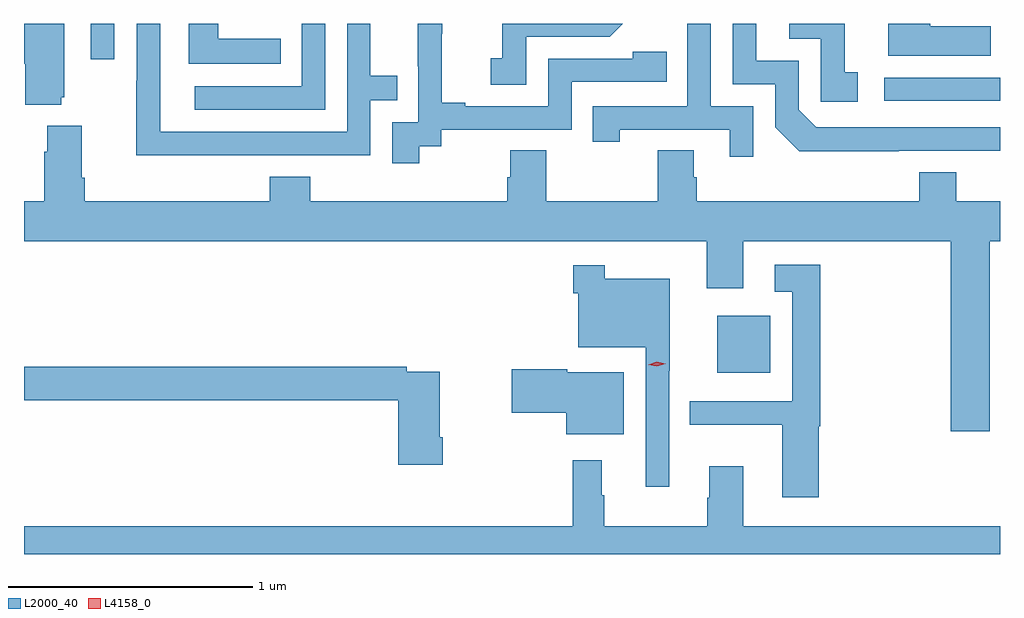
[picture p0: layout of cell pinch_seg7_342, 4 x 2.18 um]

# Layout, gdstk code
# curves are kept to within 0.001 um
import gdstk
lib = gdstk.Library(unit=1e-6, precision=1e-09)
def R(c, l, rs):  # rectangles x0, y0, x1, y1
    for r in rs: c.add(gdstk.rectangle(r[:2], r[2:], *l))
def P(c, l, *ps):  # polygons
    for p in ps: c.add(gdstk.Polygon(p, *l))
L2000_40 = (2000, 40)
L4158_0 = (4158, 0)

pinch_seg7_342 = lib.new_cell('pinch_seg7_342')
R(pinch_seg7_342, L2000_40, [(422.162,998.744,422.38,998.977), (422.847,999.858,423.321,999.954), (419.595,1000.029,419.691,1000.175)])
P(pinch_seg7_342, L2000_40, [(420.245,999.636),(420.741,999.636),(420.741,999.861),(420.851,999.861),(420.851,999.962),(420.741,999.962),(420.741,1000.175),(420.645,1000.175),(420.645,999.732),(419.88,999.732),(419.88,1000.175),(419.784,1000.175),(419.784,999.941),(419.782,999.941),(419.782,999.635),(420.245,999.635)],
  [(420.374,1000.114),(420.117,1000.114),(420.117,1000.175),(419.996,1000.175),(419.996,1000.01),(420.374,1000.01)],
  [(420.94,999.673),(421.032,999.673),(421.032,999.741),(421.566,999.741),(421.566,999.936),(421.955,999.936),(421.955,1000.059),(421.815,1000.059),(421.815,1000.032),(421.47,1000.032),(421.47,999.837),(421.129,999.837),(421.129,999.85),(421.034,999.85),(421.034,1000.133),(421.035,1000.133),(421.035,1000.175),(420.935,1000.175),(420.935,1000.001),(420.936,1000.001),(420.936,999.771),(420.831,999.771),(420.831,999.603),(420.94,999.603)],
  [(423.283,1000.165),(423.035,1000.165),(423.035,1000.175),(422.864,1000.175),(422.864,1000.043),(423.283,1000.043)],
  [(419.474,999.873),(419.485,999.873),(419.485,1000.175),(419.321,1000.175),(419.321,1000.01),(419.327,1000.01),(419.327,999.842),(419.474,999.842)],
  [(422.906,999.654),(423.321,999.654),(423.321,999.75),(422.568,999.75),(422.496,999.822),(422.496,1000.023),(422.323,1000.023),(422.323,1000.175),(422.226,1000.175),(422.226,999.927),(422.4,999.927),(422.4,999.75),(422.498,999.653)],
  [(421.38,1000.122),(421.722,1000.122),(421.775,1000.175),(421.282,1000.175),(421.282,1000.033),(421.233,1000.033),(421.233,999.924),(421.38,999.924)],
  [(422.31,999.837),(422.136,999.837),(422.136,1000.175),(422.04,1000.175),(422.04,999.837),(421.651,999.837),(421.651,999.69),(421.762,999.69),(421.762,999.741),(422.213,999.741),(422.213,999.63),(422.31,999.63)],
  [(420.555,1000.175),(420.459,1000.175),(420.459,999.918),(420.021,999.918),(420.021,999.822),(420.555,999.822)],
  [(422.737,999.975),(422.684,999.975),(422.684,1000.175),(422.457,1000.175),(422.457,1000.113),(422.586,1000.113),(422.586,999.855),(422.737,999.855)],
  [(423.279,999.284),(423.321,999.284),(423.321,999.448),(423.142,999.448),(423.142,999.565),(422.99,999.565),(422.99,999.448),(422.078,999.448),(422.078,999.546),(422.065,999.546),(422.065,999.656),(421.918,999.656),(421.918,999.448),(421.461,999.448),(421.461,999.656),(421.313,999.656),(421.313,999.546),(421.301,999.546),(421.301,999.448),(420.494,999.448),(420.494,999.547),(420.329,999.547),(420.329,999.448),(419.57,999.448),(419.57,999.544),(419.557,999.544),(419.557,999.757),(419.417,999.757),(419.417,999.65),(419.405,999.65),(419.405,999.448),(419.321,999.448),(419.321,999.284),(422.12,999.284),(422.12,999.09),(422.269,999.09),(422.269,999.284),(423.119,999.284),(423.119,998.505),(423.279,998.505)],
  [(422.579,998.525),(422.585,998.525),(422.585,999.187),(422.397,999.187),(422.397,999.077),(422.469,999.077),(422.469,998.628),(422.05,998.628),(422.05,998.531),(422.429,998.531),(422.429,998.235),(422.579,998.235)],
  [(421.965,998.753),(421.967,998.753),(421.967,999.13),(421.702,999.13),(421.702,999.184),(421.573,999.184),(421.573,999.071),(421.593,999.071),(421.593,998.849),(421.869,998.849),(421.869,998.277),(421.965,998.277)],
  [(421.037,998.479),(421.024,998.479),(421.024,998.748),(420.89,998.748),(420.89,998.768),(419.321,998.768),(419.321,998.632),(420.854,998.632),(420.854,998.367),(421.037,998.367)],
  [(421.78,998.746),(421.548,998.746),(421.548,998.759),(421.32,998.759),(421.32,998.581),(421.544,998.581),(421.544,998.492),(421.78,998.492)],
  [(423.321,998.116),(422.269,998.116),(422.269,998.362),(422.129,998.362),(422.129,998.231),(422.122,998.231),(422.122,998.116),(421.699,998.116),(421.699,998.243),(421.688,998.243),(421.688,998.386),(421.57,998.386),(421.57,998.116),(419.321,998.116),(419.321,998),(423.321,998)])
P(pinch_seg7_342, L4158_0, [(421.915,998.77),(421.879,998.778),(421.879,998.778),(421.879,998.778),(421.914,998.79),(421.951,998.782),(421.951,998.782),(421.951,998.782)])

lib.write_gds('pinch_seg7_342.gds')
